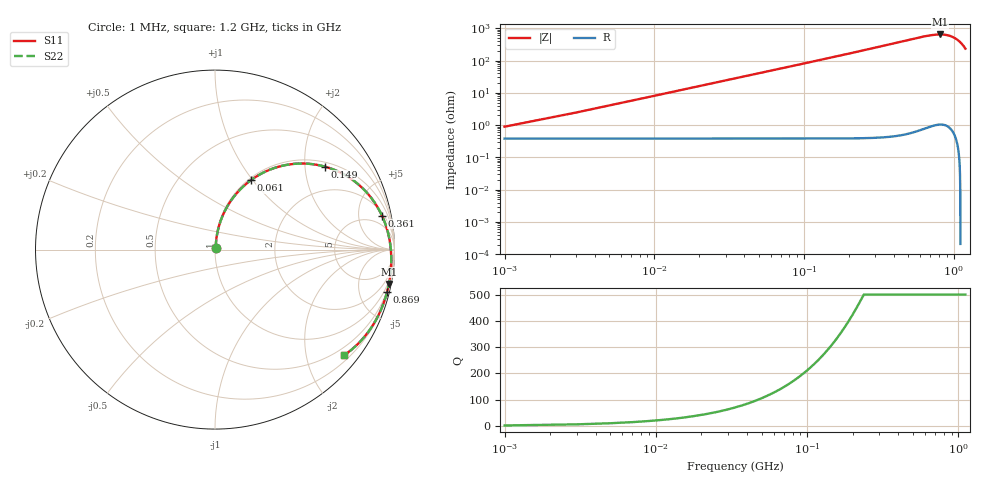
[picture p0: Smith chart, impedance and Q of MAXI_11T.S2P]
! Coilcraft 132-11SM_ Maxi Spring Air Core Inductor
! 28 May 2003
# MHZ S MA R 50
!Freq  MagS11  AngS11  MagS21  AngS21  MagS12  AngS12  MagS22  AngS22
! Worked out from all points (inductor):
!   601 points, 1 MHz to 1.2 GHz, reference 50 ohm
!   read as one part in series: L = 129 nH near 7 MHz
!   highest |Z| = 645 ohm at 813 MHz (marker M1)
!   S11 on the Smith chart (normalised r, x): 1 MHz: 1.01, +0.02; 61 MHz: 1.03, +0.98; 149 MHz: 1.13, +2.53; 361 MHz: 2.43, +9.28; 869 MHz: 0.44, -8.23; 1.2 GHz: 0.32, -2.78
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1  0.008795 63.7  0.9961 -0.5  0.9961 -0.5  0.008797 63.8
5  0.03976 82.1  0.9954 -2.4  0.9954 -2.4  0.03977 82.1
9  0.07121 82.7  0.9937 -4.2  0.9937 -4.2  0.07123 82.7
11  0.08688 82.3  0.9924 -5.2  0.9924 -5.2  0.08691 82.3
15  0.118 81.1  0.9892 -7.0  0.9892 -7.0  0.1181 81.1
19  0.1489 79.6  0.9851 -8.9  0.9851 -8.9  0.1489 79.6
27  0.2092 76.4  0.9741 -12.6  0.9741 -12.6  0.2093 76.4
37  0.2814 72.3  0.9559 -17.0  0.9559 -17.0  0.2815 72.3
61  0.4357 62.6  0.8966 -26.9  0.8966 -26.9  0.4358 62.6
99  0.6188 49.7  0.7825 -40.0  0.7825 -40.0  0.619 49.7
149  0.7662 37.1  0.64 -52.7  0.64 -52.7  0.7664 37.1
201  0.8511 27.9  0.5227 -61.9  0.5227 -61.9  0.8514 27.9
271  0.9115 19.2  0.4093 -70.7  0.4093 -70.7  0.9118 19.2
361  0.9491 11.5  0.313 -78.4  0.313 -78.4  0.9494 11.5
401  0.9589 8.8  0.2817 -81.1  0.2817 -81.1  0.9592 8.8
601  0.9821 -1.8  0.1858 -91.7  0.1858 -91.7  0.9824 -1.8
801  0.9876 -10.6  0.1528 -100.6  0.1528 -100.6  0.9879 -10.6
813  0.9877 -11.2  0.1525 -101.1  0.1525 -101.1  0.988 -11.2
869  0.9873 -13.8  0.1542 -103.7  0.1542 -103.7  0.9876 -13.8
1001  0.9822 -21.0  0.1828 -110.9  0.1828 -110.9  0.9825 -21.0
1115  0.966 -29.5  0.2537 -119.5  0.2537 -119.5  0.9662 -29.5
1200  0.93 -39.2  0.3627 -129.2  0.3627 -129.2  0.9302 -39.2
